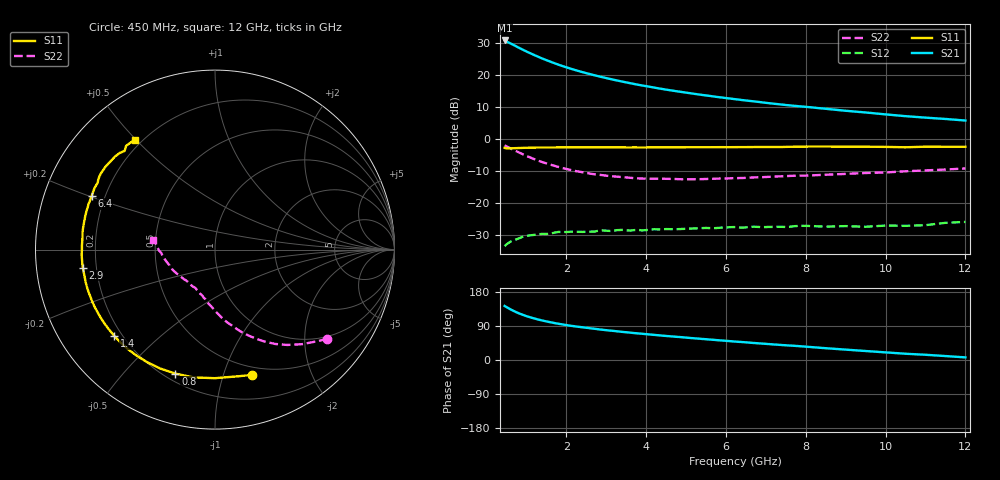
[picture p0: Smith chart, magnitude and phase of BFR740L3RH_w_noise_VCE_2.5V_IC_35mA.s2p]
! (c) 2012  Infineon Technologies AG, Munich
! Infineon Technologies  Discrete & RF Semiconductors
! BFR740L3RH
! VCE =  2.5 V,  IC =  35 mA
! Common Emitter S-Parameters:  May 2012
# GHz  S  MA  R  50
!  f  S11  S21  S12  S22
! GHz  MAG  ANG  MAG  ANG  MAG  ANG  MAG  ANG
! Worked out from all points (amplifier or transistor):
!   85 points, 450 MHz to 12 GHz, reference 50 ohm
!   highest |S21| = 30.9 dB at 450 MHz (marker M1)
!   |S21| within 3 dB of that: start of sweep to 922.7 MHz
!   unconditionally stable (mu >= 1): 5.159 GHz to end of sweep
!   at 1.8 GHz: K = 0.36, MSG = 26.2 dB, |S12| = -29.1 dB
!   at 4.6 GHz: K = 0.91, MSG = 21.8 dB, |S12| = -28.2 dB
!   at 12 GHz: K = 2.02, MAG = 10.1 dB, |S12| = -26.0 dB
!   lowest NFmin = 1.30 dB at 450 MHz
!   S11 on the Smith chart (normalised r, x): 450 MHz: 0.42, -1.25; 800 MHz: 0.24, -0.70; 1.4 GHz: 0.17, -0.36; 2.9 GHz: 0.15, -0.07; 6.4 GHz: 0.15, +0.20; 12 GHz: 0.17, +0.50
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0.45  0.7279 -73.5  35.22 142.6  0.021 48.7  0.7993 -38.4
0.6  0.7164 -90.1  31.61 133.5  0.0248 49.4  0.7159 -47.4
0.7  0.7221 -99.6  29.36 128.2  0.0262 45.5  0.667 -52.8
0.8  0.7254 -107.7  27.25 123.5  0.0277 41.6  0.6224 -57.6
0.9  0.7293 -114.7  25.34 119.4  0.0294 38.3  0.5819 -61.7
1  0.7323 -121.0  23.62 115.7  0.0305 35.7  0.5455 -65.4
1.1  0.7347 -126.4  22.09 112.4  0.0311 33.5  0.513 -68.8
1.3  0.7381 -135.5  19.44 106.6  0.0324 30.7  0.4581 -74.7
1.4  0.7389 -139.5  18.3 104.1  0.0327 29.4  0.4355 -77.2
1.6  0.7408 -146.2  16.36 99.6  0.0331 27.2  0.3981 -82.2
1.8  0.7417 -152.0  14.7 95.6  0.0351 24.8  0.3662 -86.2
2.1  0.7422 -158.8  12.75 90.5  0.0354 25.2  0.3291 -91.8
2.4  0.7433 -164.4  11.23 86.3  0.0352 22.8  0.3031 -96.8
2.9  0.7432 -172.2  9.361 79.9  0.0371 23.5  0.2726 -103.9
3.6  0.7413 179.2  7.524 72.1  0.0369 22.6  0.2477 -113.6
4.3  0.744 172.7  6.266 65.3  0.0385 24.1  0.2397 -121.1
5.2  0.7469 164.8  5.137 57.3  0.0398 24.1  0.2353 -131.6
6.3  0.7497 157.0  4.177 48.1  0.0415 24.9  0.2453 -143.5
6.4  0.7498 156.4  4.105 47.4  0.0409 24.7  0.2459 -144.6
8.5  0.7653 142.7  2.991 31.1  0.0425 26.1  0.2766 -165.3
10.5  0.7455 132.5  2.292 16.5  0.0438 29.4  0.3136 -179.4
12  0.7584 126.2  1.958 6.9  0.0504 38.0  0.3471 171.3
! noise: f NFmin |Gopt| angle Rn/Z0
0.45  1.3  0.15  179  0.12
0.9  1.31  0.15  177  0.12
1.5  1.33  0.16  175  0.11
1.9  1.34  0.17  174  0.11
2.4  1.37  0.18  175  0.11
3.5  1.44  0.19  176  0.11
5.5  1.61  0.25  180  0.1
8  1.88  0.31  -164  0.12
10  2.1  0.33  -150  0.16
12  2.33  0.41  -128  0.26
